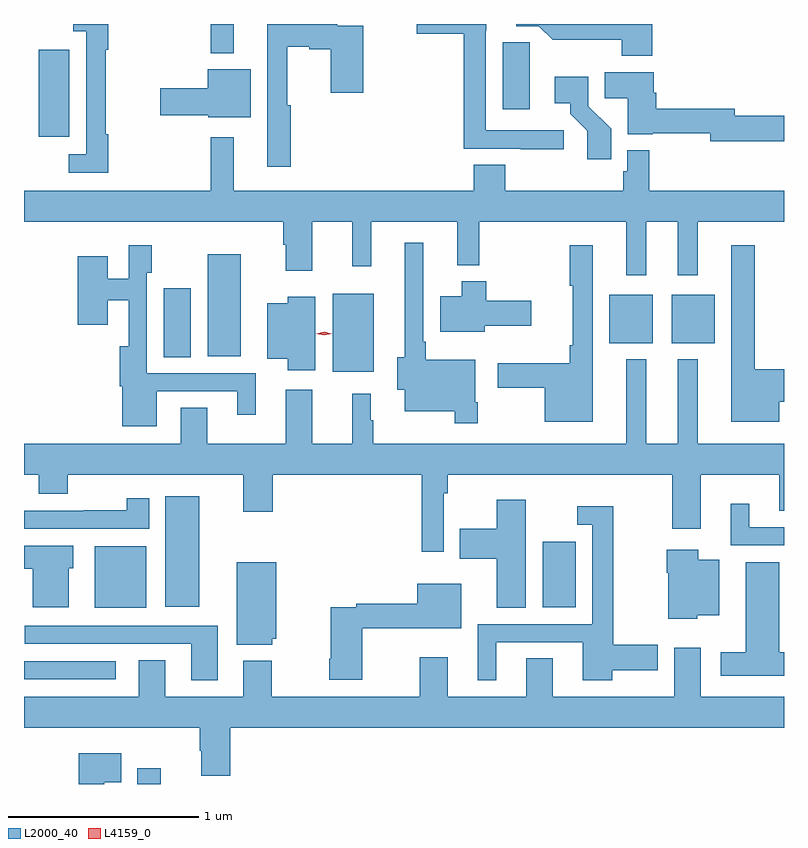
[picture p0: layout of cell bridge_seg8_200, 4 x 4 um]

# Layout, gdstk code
import gdstk
lib = gdstk.Library(unit=1e-6, precision=1e-09)
def R(c, l, rs):  # rectangles x0, y0, x1, y1
    for r in rs: c.add(gdstk.rectangle(r[:2], r[2:], *l))
def P(c, l, *ps):  # polygons
    for p in ps: c.add(gdstk.Polygon(p, *l))
L2000_40 = (2000, 40)
L4159_0 = (4159, 0)

bridge_seg8_200 = lib.new_cell('bridge_seg8_200')
R(bridge_seg8_200, L2000_40, [(244.691,1120.201,244.813,1120.285), (244.094,1120.752,244.576,1120.848), (244.466,1121.129,244.738,1121.452), (246.824,1121.132,246.997,1121.476), (244.838,1121.135,245.017,1121.716), (245.72,1122.371,245.935,1122.781), (244.829,1122.448,244.972,1122.811), (245.06,1122.452,245.236,1122.988), (247.175,1122.521,247.402,1122.775), (247.502,1122.521,247.729,1122.775), (244.172,1123.607,244.333,1124.065), (245.076,1124.048,245.197,1124.201)])
P(bridge_seg8_200, L2000_40, [(244.538,1123.622),(244.523,1123.622),(244.523,1124.066),(244.538,1124.066),(244.538,1124.201),(244.352,1124.201),(244.352,1124.162),(244.422,1124.162),(244.422,1123.516),(244.329,1123.516),(244.329,1123.419),(244.538,1123.419)],
  [(247.4,1124.201),(246.684,1124.201),(246.684,1124.19),(246.804,1124.19),(246.877,1124.117),(246.976,1124.117),(246.976,1124.118),(247.24,1124.118),(247.24,1124.033),(247.4,1124.033)],
  [(246.934,1123.641),(246.525,1123.641),(246.525,1124.166),(246.526,1124.166),(246.526,1124.201),(246.162,1124.201),(246.162,1124.15),(246.409,1124.15),(246.409,1123.545),(246.709,1123.545),(246.709,1123.543),(246.934,1123.543)],
  [(245.497,1123.773),(245.479,1123.773),(245.479,1124.081),(245.594,1124.081),(245.594,1124.069),(245.708,1124.069),(245.708,1123.839),(245.879,1123.839),(245.879,1124.191),(245.742,1124.191),(245.742,1124.199),(245.626,1124.199),(245.626,1124.201),(245.375,1124.201),(245.375,1123.449),(245.497,1123.449)],
  [(246.757,1123.994),(246.756,1123.994),(246.756,1124.105),(246.614,1124.105),(246.614,1123.752),(246.757,1123.752)],
  [(245.287,1123.963),(245.06,1123.963),(245.06,1123.862),(244.812,1123.862),(244.812,1123.72),(245.064,1123.72),(245.064,1123.709),(245.287,1123.709)],
  [(248.094,1123.718),(247.834,1123.718),(247.834,1123.754),(247.421,1123.754),(247.421,1123.838),(247.408,1123.838),(247.408,1123.948),(247.15,1123.948),(247.15,1123.81),(247.271,1123.81),(247.271,1123.622),(247.404,1123.622),(247.404,1123.626),(247.706,1123.626),(247.706,1123.583),(248.094,1123.583)],
  [(247.184,1123.65),(247.065,1123.769),(247.065,1123.924),(246.888,1123.924),(246.888,1123.784),(246.968,1123.784),(246.968,1123.729),(247.059,1123.639),(247.059,1123.488),(247.184,1123.488)],
  [(247.369,1123.16),(247.535,1123.16),(247.535,1122.879),(247.639,1122.879),(247.639,1123.16),(248.094,1123.16),(248.094,1123.324),(247.385,1123.324),(247.385,1123.537),(247.269,1123.537),(247.269,1123.425),(247.249,1123.425),(247.249,1123.324),(246.626,1123.324),(246.626,1123.46),(246.461,1123.46),(246.461,1123.324),(245.197,1123.324),(245.197,1123.606),(245.076,1123.606),(245.076,1123.324),(244.094,1123.324),(244.094,1123.16),(245.459,1123.16),(245.459,1123.04),(245.471,1123.04),(245.471,1122.903),(245.611,1122.903),(245.611,1123.16),(245.822,1123.16),(245.822,1122.927),(245.921,1122.927),(245.921,1123.16),(246.374,1123.16),(246.374,1122.932),(246.491,1122.932),(246.491,1123.16),(247.265,1123.16),(247.265,1122.879),(247.369,1122.879)],
  [(246.481,1122.211),(246.468,1122.211),(246.468,1122.433),(246.208,1122.433),(246.208,1122.529),(246.195,1122.529),(246.195,1123.051),(246.098,1123.051),(246.098,1122.446),(246.059,1122.446),(246.059,1122.275),(246.098,1122.275),(246.098,1122.164),(246.36,1122.164),(246.36,1122.099),(246.481,1122.099)],
  [(247.087,1123.036),(246.966,1123.036),(246.966,1122.823),(246.983,1122.823),(246.983,1122.511),(246.966,1122.511),(246.966,1122.415),(246.588,1122.415),(246.588,1122.286),(246.836,1122.286),(246.836,1122.107),(247.087,1122.107)],
  [(248.068,1122.212),(248.094,1122.212),(248.094,1122.383),(247.939,1122.383),(247.939,1123.036),(247.817,1123.036),(247.817,1122.107),(248.068,1122.107)],
  [(244.792,1122.267),(245.216,1122.267),(245.216,1122.144),(245.314,1122.144),(245.314,1122.363),(244.74,1122.363),(244.74,1122.891),(244.767,1122.891),(244.767,1123.036),(244.644,1123.036),(244.644,1122.859),(244.534,1122.859),(244.534,1122.979),(244.376,1122.979),(244.376,1122.618),(244.534,1122.618),(244.534,1122.748),(244.644,1122.748),(244.644,1122.505),(244.598,1122.505),(244.598,1122.294),(244.61,1122.294),(244.61,1122.083),(244.792,1122.083)],
  [(246.52,1122.614),(246.763,1122.614),(246.763,1122.744),(246.528,1122.744),(246.528,1122.847),(246.398,1122.847),(246.398,1122.769),(246.284,1122.769),(246.284,1122.581),(246.52,1122.581)],
  [(245.626,1122.766),(245.483,1122.766),(245.483,1122.73),(245.375,1122.73),(245.375,1122.44),(245.483,1122.44),(245.483,1122.378),(245.626,1122.378)],
  [(246.303,1121.732),(246.323,1121.732),(246.323,1121.828),(247.505,1121.828),(247.505,1121.544),(247.657,1121.544),(247.657,1121.828),(248.069,1121.828),(248.069,1121.638),(248.094,1121.638),(248.094,1121.992),(247.639,1121.992),(247.639,1122.436),(247.535,1122.436),(247.535,1121.992),(247.369,1121.992),(247.369,1122.436),(247.265,1122.436),(247.265,1121.992),(245.932,1121.992),(245.932,1122.116),(245.92,1122.116),(245.92,1122.256),(245.822,1122.256),(245.822,1121.992),(245.611,1121.992),(245.611,1122.277),(245.471,1122.277),(245.471,1121.992),(245.059,1121.992),(245.059,1122.182),(244.919,1122.182),(244.919,1121.992),(244.094,1121.992),(244.094,1121.828),(244.172,1121.828),(244.172,1121.729),(244.325,1121.729),(244.325,1121.828),(245.249,1121.828),(245.249,1121.634),(245.402,1121.634),(245.402,1121.828),(246.187,1121.828),(246.187,1121.424),(246.303,1121.424)],
  [(244.753,1121.704),(244.636,1121.704),(244.636,1121.642),(244.408,1121.642),(244.408,1121.64),(244.094,1121.64),(244.094,1121.544),(244.753,1121.544)],
  [(246.736,1121.698),(246.581,1121.698),(246.581,1121.545),(246.388,1121.545),(246.388,1121.387),(246.581,1121.387),(246.581,1121.128),(246.736,1121.128)],
  [(248.094,1121.553),(247.912,1121.553),(247.912,1121.677),(247.814,1121.677),(247.814,1121.457),(248.094,1121.457)],
  [(246.58,1120.947),(247.034,1120.947),(247.034,1120.746),(247.191,1120.746),(247.191,1120.799),(247.429,1120.799),(247.429,1120.934),(247.195,1120.934),(247.195,1121.662),(247.005,1121.662),(247.005,1121.565),(247.086,1121.565),(247.086,1121.043),(246.482,1121.043),(246.482,1120.746),(246.58,1120.746)],
  [(244.33,1121.337),(244.354,1121.337),(244.354,1121.455),(244.094,1121.455),(244.094,1121.333),(244.139,1121.333),(244.139,1121.132),(244.33,1121.132)],
  [(247.638,1121.09),(247.753,1121.09),(247.753,1121.38),(247.642,1121.38),(247.642,1121.434),(247.477,1121.434),(247.477,1121.312),(247.484,1121.312),(247.484,1121.072),(247.638,1121.072)],
  [(248.094,1120.894),(248.068,1120.894),(248.068,1121.368),(247.892,1121.368),(247.892,1120.894),(247.761,1120.894),(247.761,1120.772),(248.094,1120.772)],
  [(245.4,1120.965),(245.422,1120.965),(245.422,1121.368),(245.213,1121.368),(245.213,1120.934),(245.4,1120.934)],
  [(245.874,1121.022),(246.068,1121.022),(246.068,1121.021),(246.394,1121.021),(246.394,1121.254),(246.164,1121.254),(246.164,1121.15),(245.842,1121.15),(245.842,1121.13),(245.708,1121.13),(245.708,1120.861),(245.701,1120.861),(245.701,1120.749),(245.874,1120.749)],
  [(245.113,1121.034),(244.098,1121.034),(244.098,1120.938),(244.973,1120.938),(244.973,1120.746),(245.113,1120.746)],
  [(245.18,1120.496),(248.094,1120.496),(248.094,1120.66),(247.657,1120.66),(247.657,1120.918),(247.517,1120.918),(247.517,1120.66),(246.877,1120.66),(246.877,1120.862),(246.737,1120.862),(246.737,1120.66),(246.325,1120.66),(246.325,1120.867),(246.178,1120.867),(246.178,1120.66),(245.397,1120.66),(245.397,1120.849),(245.249,1120.849),(245.249,1120.66),(244.837,1120.66),(244.837,1120.853),(244.697,1120.853),(244.697,1120.66),(244.094,1120.66),(244.094,1120.496),(245.02,1120.496),(245.02,1120.376),(245.027,1120.376),(245.027,1120.244),(245.18,1120.244)],
  [(244.516,1120.211),(244.606,1120.211),(244.606,1120.363),(244.382,1120.363),(244.382,1120.201),(244.516,1120.201)])
P(bridge_seg8_200, L4159_0, [(245.674,1122.562),(245.633,1122.571),(245.633,1122.572),(245.633,1122.572),(245.674,1122.582),(245.714,1122.572),(245.714,1122.572),(245.714,1122.571)])

lib.write_gds('bridge_seg8_200.gds')
